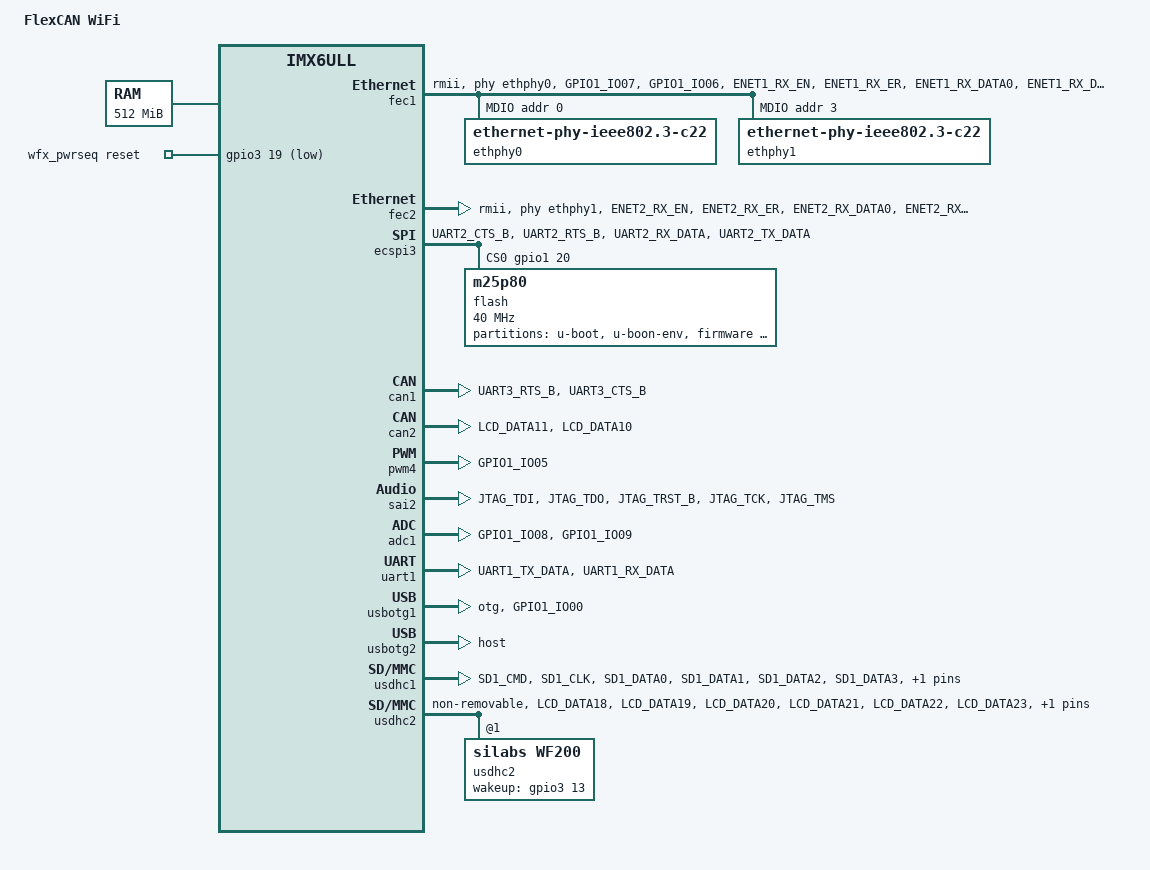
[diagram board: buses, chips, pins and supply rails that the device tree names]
/*
 * Copyright (C) 2016 Freescale Semiconductor, Inc.
 *
 * This program is free software; you can redistribute it and/or modify
 * it under the terms of the GNU General Public License version 2 as
 * published by the Free Software Foundation.
 */

/dts-v1/;

#include <dt-bindings/input/input.h>
#include "imx6ull.dtsi"

/ {
	model = "FlexCAN WiFi";
	compatible = "wirelessroad,stream-imx6ull", "fsl,imx6ull";

	chosen {
		stdout-path = &uart1;
		bootargs = "console=ttymxc0,115200 rootwait fixrtc quiet";
	};

	memory {
		reg = <0x80000000 0x20000000>;
	};

	aliases {
		cpu0 = &cpu0;
		can1 = &can1;
		can2 = &can2;
		clks = &clks;
		fec1 = &fec1;
		fec2 = &fec2;
		csi = &csi;
		ecspi3 = &ecspi3;
		gpc = &gpc;
		gpmi = &gpmi;
		iomuxc = &iomuxc;
		pwm4 = &pwm4;
		adc1 = &adc1;
		usbotg1 = &usbotg1;
		usbotg2 = &usbotg2;
		usdhc1 = &usdhc1;
		usdhc2 = &usdhc2;
		wdog1 = &wdog1;
	};
	
	soc {
		aips3: aips-bus@02200000 {
			compatible = "fsl,aips-bus", "simple-bus";
			#address-cells = <1>;
			#size-cells = <1>;
			reg = <0x02200000 0x100000>;
			ranges;

			dcp: dcp@02280000 {
				compatible = "fsl,imx6sl-dcp";
				reg = <0x02280000 0x4000>;
				interrupts = <GIC_SPI 46 IRQ_TYPE_LEVEL_HIGH>,
					     <GIC_SPI 47 IRQ_TYPE_LEVEL_HIGH>,
					     <GIC_SPI 48 IRQ_TYPE_LEVEL_HIGH>;
				clocks = <&clks IMX6ULL_CLK_DCP_CLK>;
				clock-names = "dcp";
			};

			rngb: rngb@02284000 {
				compatible = "fsl,imx6sl-rng", "fsl,imx-rng", "imx-rng";
				reg = <0x02284000 0x4000>;
				interrupts = <GIC_SPI 6 IRQ_TYPE_LEVEL_HIGH>;
				clocks =  <&clks IMX6UL_CLK_DUMMY>;
			};

			iomuxc_snvs: iomuxc-snvs@02290000 {
				compatible = "fsl,imx6ull-iomuxc-snvs";
				reg = <0x02290000 0x10000>;
				pinctrl-names = "default_snvs";
			};

			wfx_pwrseq: wfx_pwrseq {
				compatible = "mmc-pwrseq-simple";
				pinctrl-names = "default";
				pinctrl-0 = <&pinctrl_wfx_reset>;
				reset-gpios = <&gpio3 19 GPIO_ACTIVE_LOW>;
			};

		};
	};
};


&cpu0 {
	operating-points = <
		/* kHz  uV */
		900000  1275000
		792000  1225000
		528000  1175000
		396000  1025000
		198000  950000
	>;
	fsl,soc-operating-points = <
		/* KHz  uV */
		900000  1250000
		792000  1175000
		528000  1175000
		396000  1175000
		198000  1175000
	>;
};


&clks {
	assigned-clocks = <&clks IMX6UL_CLK_PLL4_AUDIO_DIV>;
	assigned-clock-rates = <786432000>;
};

&fec1 {
	pinctrl-names = "default";
	pinctrl-0 = <&pinctrl_enet1>;
	phy-mode = "rmii";
	phy-handle = <&ethphy0>;
	phy-reset-gpios = <&gpio3 18 GPIO_ACTIVE_LOW>;
	phy-reset-duration = <10>;
	phy-reset-post-delay = <50>;
	status = "okay";
	mdio {
		#address-cells = <1>;
		#size-cells = <0>;

		ethphy0: ethernet-phy@0 {
			compatible = "ethernet-phy-ieee802.3-c22";
			reg = <0>;
			clocks = <&clks IMX6UL_CLK_ENET_REF>;
			clock-names = "rmii-ref";
		};

		ethphy1: ethernet-phy@3 {
			compatible = "ethernet-phy-ieee802.3-c22";
			reg = <3>;
			clocks = <&clks IMX6UL_CLK_ENET2_REF>;
			clock-names = "rmii-ref";
		};
	};
};

&fec2 {
        pinctrl-names = "default";
        pinctrl-0 = <&pinctrl_enet2>;
        phy-mode = "rmii";
        phy-handle = <&ethphy1>;
        phy-reset-gpios = <&gpio3 5 GPIO_ACTIVE_LOW>;
        phy-reset-duration = <10>;
        phy-reset-post-delay = <50>;
        status = "okay";
};

&ecspi3 {
	fsl,spi-num-chipselects = <1>;
	cs-gpios = <&gpio1 20 0>;
	pinctrl-names = "default";
	pinctrl-0 = <&pinctrl_ecspi3_0>;
	status = "okay";
	dma-names = "rx", "tx";
	dmas = <&sdma 7 7 1>, <&sdma 8 7 2>;

	flash@0 {
		#address-cells = <1>;
		#size-cells = <1>;
		status = "okay";
		compatible = "m25p80";
		spi-max-frequency = <40000000>;
		reg = <0>;
		partition@0 {
			label = "u-boot";
			reg = <0x000000 0x0c0000>;
		};
		partition@1 {
			label = "u-boon-env";
			reg = <0x0c0000 0x040000>;
		};
		partition@2 {
			label = "firmware";
			reg = <0x100000 0xf00000>;
		};
		partition@3 {
			label = "factory";
			reg = <0x000000 0x1000000>;
		};
	};
};


&can1 {
	pinctrl-names = "default";
	pinctrl-0 = <&pinctrl_flexcan0>;
	status = "okay";
};


&can2 {
        pinctrl-names = "default";
        pinctrl-0 = <&pinctrl_flexcan1>;
        status = "okay";
};


&gpc {
	fsl,cpu_pupscr_sw2iso = <0x1>;
	fsl,cpu_pupscr_sw = <0x0>;
	fsl,cpu_pdnscr_iso2sw = <0x1>;
	fsl,cpu_pdnscr_iso = <0x1>;
	fsl,ldo-bypass = <0>; /* DCDC, ldo-enable */
};

&iomuxc {
	pinctrl-names = "default";
	pinctrl-0 = <&pinctrl_hog_1>;
	imx6ul-evk {
		pinctrl_hog_1: hoggrp-1 {
			fsl,pins = <
				MX6UL_PAD_UART1_RTS_B__GPIO1_IO19	0x17059 /* SD1 CD */
			>;
		};
		
		pinctrl_adc1: adc1grp {
			fsl,pins = <
				MX6UL_PAD_GPIO1_IO08__GPIO1_IO08        0xb0
				MX6UL_PAD_GPIO1_IO09__GPIO1_IO09        0xb0
			>;
		};

		pinctrl_ecspi3_0: ecspi3grp-0 {
			fsl,pins = <
				MX6UL_PAD_UART2_CTS_B__ECSPI3_MOSI	0x110b1
				MX6UL_PAD_UART2_RTS_B__ECSPI3_MISO	0x110b1
				MX6UL_PAD_UART2_RX_DATA__ECSPI3_SCLK	0x110b1
				MX6UL_PAD_UART2_TX_DATA__GPIO1_IO20	0x10b0
			>;
		};

		pinctrl_csi1: csi1grp {
			fsl,pins = <
				MX6UL_PAD_CSI_MCLK__CSI_MCLK            0x1b088
				MX6UL_PAD_CSI_PIXCLK__CSI_PIXCLK        0x1b088
				MX6UL_PAD_CSI_VSYNC__CSI_VSYNC          0x1b088
				MX6UL_PAD_CSI_HSYNC__CSI_HSYNC          0x1b088
				MX6UL_PAD_CSI_DATA00__CSI_DATA02        0x1b088
				MX6UL_PAD_CSI_DATA01__CSI_DATA03        0x1b088
				MX6UL_PAD_CSI_DATA02__CSI_DATA04        0x1b088
				MX6UL_PAD_CSI_DATA03__CSI_DATA05        0x1b088
				MX6UL_PAD_CSI_DATA04__CSI_DATA06        0x1b088
				MX6UL_PAD_CSI_DATA05__CSI_DATA07        0x1b088
				MX6UL_PAD_CSI_DATA06__CSI_DATA08        0x1b088
				MX6UL_PAD_CSI_DATA07__CSI_DATA09        0x1b088
				MX6UL_PAD_SNVS_TAMPER2__GPIO5_IO02      0x10b0
				MX6UL_PAD_SNVS_TAMPER3__GPIO5_IO03      0x10b0
			>;
		};

		pinctrl_usb_otg1_id: usbotg1idgrp {
			fsl,pins = <
				MX6UL_PAD_GPIO1_IO00__ANATOP_OTG1_ID	0x17059
			>;
		};
		
		pinctrl_enet1: enet1grp {
			fsl,pins = <
				MX6UL_PAD_GPIO1_IO07__ENET1_MDC         0x1b0b0
				MX6UL_PAD_GPIO1_IO06__ENET1_MDIO	0x1b0b0
				MX6UL_PAD_ENET1_RX_EN__ENET1_RX_EN	0x1b0b0
				MX6UL_PAD_ENET1_RX_ER__ENET1_RX_ER	0x1b0b0
				MX6UL_PAD_ENET1_RX_DATA0__ENET1_RDATA00	0x1b0b0
				MX6UL_PAD_ENET1_RX_DATA1__ENET1_RDATA01	0x1b0b0
				MX6UL_PAD_ENET1_TX_EN__ENET1_TX_EN	0x1b0b0
				MX6UL_PAD_ENET1_TX_DATA0__ENET1_TDATA00	0x1b0b0
				MX6UL_PAD_ENET1_TX_DATA1__ENET1_TDATA01	0x1b0b0
				MX6UL_PAD_ENET1_TX_CLK__ENET1_REF_CLK1	0x4001b031
			>;
		};

                pinctrl_enet2: enet2grp {
                        fsl,pins = <
                                MX6UL_PAD_ENET2_RX_EN__ENET2_RX_EN      0x1b0b0
                                MX6UL_PAD_ENET2_RX_ER__ENET2_RX_ER      0x1b0b0
                                MX6UL_PAD_ENET2_RX_DATA0__ENET2_RDATA00 0x1b0b0
                                MX6UL_PAD_ENET2_RX_DATA1__ENET2_RDATA01 0x1b0b0
                                MX6UL_PAD_ENET2_TX_EN__ENET2_TX_EN      0x1b0b0
                                MX6UL_PAD_ENET2_TX_DATA0__ENET2_TDATA00 0x1b0b0
                                MX6UL_PAD_ENET2_TX_DATA1__ENET2_TDATA01 0x1b0b0
                                MX6UL_PAD_ENET2_TX_CLK__ENET2_REF_CLK2  0x4001b031
                        >;
                };

		pinctrl_flexcan0: flexcan0grp{
			fsl,pins = <
				MX6UL_PAD_UART3_RTS_B__FLEXCAN1_RX	0x1b020
				MX6UL_PAD_UART3_CTS_B__FLEXCAN1_TX	0x1b020
			>;
		};

		pinctrl_flexcan1: flexcan1grp{
			fsl,pins = <
				MX6UL_PAD_LCD_DATA11__FLEXCAN2_RX      0x1b020
				MX6UL_PAD_LCD_DATA10__FLEXCAN2_TX      0x1b020
			>;
		};

		pinctrl_pwm4: pwm4grp {
			fsl,pins = <
				MX6UL_PAD_GPIO1_IO05__PWM4_OUT   0x110b0
			>;
		};

		pinctrl_sai2: sai2grp {
			fsl,pins = <
				MX6UL_PAD_JTAG_TDI__SAI2_TX_BCLK	0x17088
				MX6UL_PAD_JTAG_TDO__SAI2_TX_SYNC	0x17088
				MX6UL_PAD_JTAG_TRST_B__SAI2_TX_DATA	0x11088
				MX6UL_PAD_JTAG_TCK__SAI2_RX_DATA	0x11088
				MX6UL_PAD_JTAG_TMS__SAI2_MCLK		0x17088
			>;
		};

		pinctrl_uart1: uart1grp {
			fsl,pins = <
				MX6UL_PAD_UART1_TX_DATA__UART1_DCE_TX 0x1b0b1
				MX6UL_PAD_UART1_RX_DATA__UART1_DCE_RX 0x1b0b1
			>;
		};

		pinctrl_usdhc1: usdhc1grp {
			fsl,pins = <
				MX6UL_PAD_SD1_CMD__USDHC1_CMD     0x17059
				MX6UL_PAD_SD1_CLK__USDHC1_CLK     0x10071
				MX6UL_PAD_SD1_DATA0__USDHC1_DATA0 0x17059
				MX6UL_PAD_SD1_DATA1__USDHC1_DATA1 0x17059
				MX6UL_PAD_SD1_DATA2__USDHC1_DATA2 0x17059
				MX6UL_PAD_SD1_DATA3__USDHC1_DATA3 0x17059
			>;
		};

		pinctrl_usdhc1_100mhz: usdhc1grp100mhz {
			fsl,pins = <
				MX6UL_PAD_SD1_CMD__USDHC1_CMD     0x170b9
				MX6UL_PAD_SD1_CLK__USDHC1_CLK     0x100b9
				MX6UL_PAD_SD1_DATA0__USDHC1_DATA0 0x170b9
				MX6UL_PAD_SD1_DATA1__USDHC1_DATA1 0x170b9
				MX6UL_PAD_SD1_DATA2__USDHC1_DATA2 0x170b9
				MX6UL_PAD_SD1_DATA3__USDHC1_DATA3 0x170b9
			>;
		};

		pinctrl_usdhc1_200mhz: usdhc1grp200mhz {
			fsl,pins = <
				MX6UL_PAD_SD1_CMD__USDHC1_CMD     0x170f9
				MX6UL_PAD_SD1_CLK__USDHC1_CLK     0x100f9
				MX6UL_PAD_SD1_DATA0__USDHC1_DATA0 0x170f9
				MX6UL_PAD_SD1_DATA1__USDHC1_DATA1 0x170f9
				MX6UL_PAD_SD1_DATA2__USDHC1_DATA2 0x170f9
				MX6UL_PAD_SD1_DATA3__USDHC1_DATA3 0x170f9
			>;
		};

		pinctrl_usdhc2: usdhc2grp {
			fsl,pins = <
				MX6UL_PAD_LCD_DATA18__USDHC2_CMD        0x1b0b0
				MX6UL_PAD_LCD_DATA19__USDHC2_CLK        0x100b0
				MX6UL_PAD_LCD_DATA20__USDHC2_DATA0      0x1b0b0
				MX6UL_PAD_LCD_DATA21__USDHC2_DATA1      0x1b0b0
				MX6UL_PAD_LCD_DATA22__USDHC2_DATA2      0x1b0b0
				MX6UL_PAD_LCD_DATA23__USDHC2_DATA3      0x1b0b0
				/* W_IRQ */
				MX6UL_PAD_LCD_DATA06__GPIO3_IO11        0x1b0b0
			>;
		};

		pinctrl_wfx_reset: wfx_reset_grp {
			fsl,pins = <
				/* W_RESET */
				MX6UL_PAD_LCD_DATA14__GPIO3_IO19        0x1b0b0
			>;
		};

		pinctrl_wfx_wakeup: wfx_wakeup_grp {
			fsl,pins = <
				/* W_UP */
				MX6UL_PAD_LCD_DATA08__GPIO3_IO13        0x130b0
			>;
		};

		pinctrl_wdog: wdoggrp {
			fsl,pins = <
				MX6UL_PAD_LCD_RESET__WDOG1_WDOG_ANY    0x30b0
			>;
		};

	};
};

&pwm4 {
	pinctrl-names = "default";
	pinctrl-0 = <&pinctrl_pwm4>;
	status = "okay";
};


&sai2 {
	pinctrl-names = "default";
	pinctrl-0 = <&pinctrl_sai2>;

	assigned-clocks = <&clks IMX6UL_CLK_SAI2_SEL>,
			  <&clks IMX6UL_CLK_SAI2>;
	assigned-clock-parents = <&clks IMX6UL_CLK_PLL4_AUDIO_DIV>;
	assigned-clock-rates = <0>, <12288000>;

	status = "okay";
};

&adc1 {
	pinctrl-names = "default";
	pinctrl-0 = <&pinctrl_adc1>;
/*	vref-supply = <&reg_vref_3v3>; */
	status = "okay";
};

&uart1 {
	pinctrl-names = "default";
	pinctrl-0 = <&pinctrl_uart1>;
	status = "okay";
};

&usbotg1 {
	dr_mode = "otg";
	srp-disable;
	hnp-disable;
	adp-disable;
	pinctrl-0 = <&pinctrl_usb_otg1_id>;
	disable-over-current;
	status = "okay";
};

&usbotg2 {
	dr_mode = "host";
	disable-over-current;
	status = "okay";
};

&usbphy1 {
	tx-d-cal = <0x5>;
};

&usbphy2 {
	tx-d-cal = <0x5>;
};

&usdhc1 {
	pinctrl-names = "default";
	pinctrl-0 = <&pinctrl_usdhc1>;
	cd-gpios = <&gpio1 19 GPIO_ACTIVE_LOW>;
	keep-power-in-suspend;
	enable-sdio-wakeup;
	status = "okay";
};

&usdhc2 {  /* Wifi SDIO */
	pinctrl-names = "default";
	pinctrl-0 = <&pinctrl_usdhc2>;
	no-1-8-v;
	non-removable;
	keep-power-in-suspend;
	wakeup-source;
	mmc-pwrseq = <&wfx_pwrseq>;
	status = "okay";
	usdhc2@1 {
		compatible = "silabs,wf200";
		reg = <1>;
		pinctrl-names = "default";
		pinctrl-0 = <&pinctrl_wfx_wakeup>;
		wakeup-gpios = <&gpio3 13 GPIO_ACTIVE_HIGH>;
	};
};

&wdog1 {
	pinctrl-names = "default";
	pinctrl-0 = <&pinctrl_wdog>;
	fsl,wdog_b;
};

